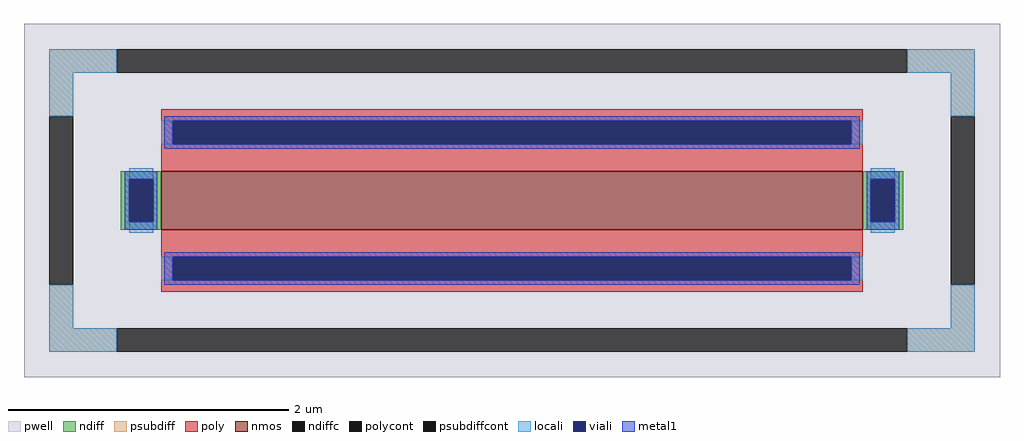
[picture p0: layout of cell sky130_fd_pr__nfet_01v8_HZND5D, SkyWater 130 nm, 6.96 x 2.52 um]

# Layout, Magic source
magic
tech sky130A
<< pwell >>
rect -348 -126 348 126
<< nmos >>
rect -250 -21 250 21
<< ndiff >>
rect -279 15 -250 21
rect -279 -15 -273 15
rect -256 -15 -250 15
rect -279 -21 -250 -15
rect 250 15 279 21
rect 250 -15 256 15
rect 273 -15 279 15
rect 250 -21 279 -15
<< ndiffc >>
rect -273 -15 -256 15
rect 256 -15 273 15
<< psubdiff >>
rect -330 91 -282 108
rect 282 91 330 108
rect -330 60 -313 91
rect 313 60 330 91
rect -330 -91 -313 -60
rect 313 -91 330 -60
rect -330 -108 -282 -91
rect 282 -108 330 -91
<< psubdiffcont >>
rect -282 91 282 108
rect -330 -60 -313 60
rect 313 -60 330 60
rect -282 -108 282 -91
<< poly >>
rect -250 57 250 65
rect -250 40 -242 57
rect 242 40 250 57
rect -250 21 250 40
rect -250 -40 250 -21
rect -250 -57 -242 -40
rect 242 -57 250 -40
rect -250 -65 250 -57
<< polycont >>
rect -242 40 242 57
rect -242 -57 242 -40
<< locali >>
rect -330 91 -282 108
rect 282 91 330 108
rect -330 60 -313 91
rect 313 60 330 91
rect -250 40 -242 57
rect 242 40 250 57
rect -273 15 -256 23
rect -273 -23 -256 -15
rect 256 15 273 23
rect 256 -23 273 -15
rect -250 -57 -242 -40
rect 242 -57 250 -40
rect -330 -91 -313 -60
rect 313 -91 330 -60
rect -330 -108 -282 -91
rect 282 -108 330 -91
<< viali >>
rect -242 40 242 57
rect -273 -15 -256 15
rect 256 -15 273 15
rect -242 -57 242 -40
<< metal1 >>
rect -248 57 248 60
rect -248 40 -242 57
rect 242 40 248 57
rect -248 37 248 40
rect -276 15 -253 21
rect -276 -15 -273 15
rect -256 -15 -253 15
rect -276 -21 -253 -15
rect 253 15 276 21
rect 253 -15 256 15
rect 273 -15 276 15
rect 253 -21 276 -15
rect -248 -40 248 -37
rect -248 -57 -242 -40
rect 242 -57 248 -40
rect -248 -60 248 -57
<< properties >>
string FIXED_BBOX -321 -99 321 99
string gencell sky130_fd_pr__nfet_01v8
string library sky130
string parameters w 0.42 l 5.0 m 1 nf 1 diffcov 100 polycov 100 guard 1 glc 1 grc 1 gtc 1 gbc 1 tbcov 100 rlcov 100 topc 1 botc 1 poverlap 0 doverlap 1 lmin 0.15 wmin 0.42 compatible {sky130_fd_pr__nfet_01v8 sky130_fd_pr__nfet_01v8_lvt  sky130_fd_bs_flash__special_sonosfet_star  sky130_fd_pr__nfet_g5v0d10v5 sky130_fd_pr__nfet_05v0_nvt  sky130_fd_pr__nfet_03v3_nvt} full_metal 1 viasrc 100 viadrn 100 viagate 100 viagb 0 viagr 0 viagl 0 viagt 0
<< end >>
